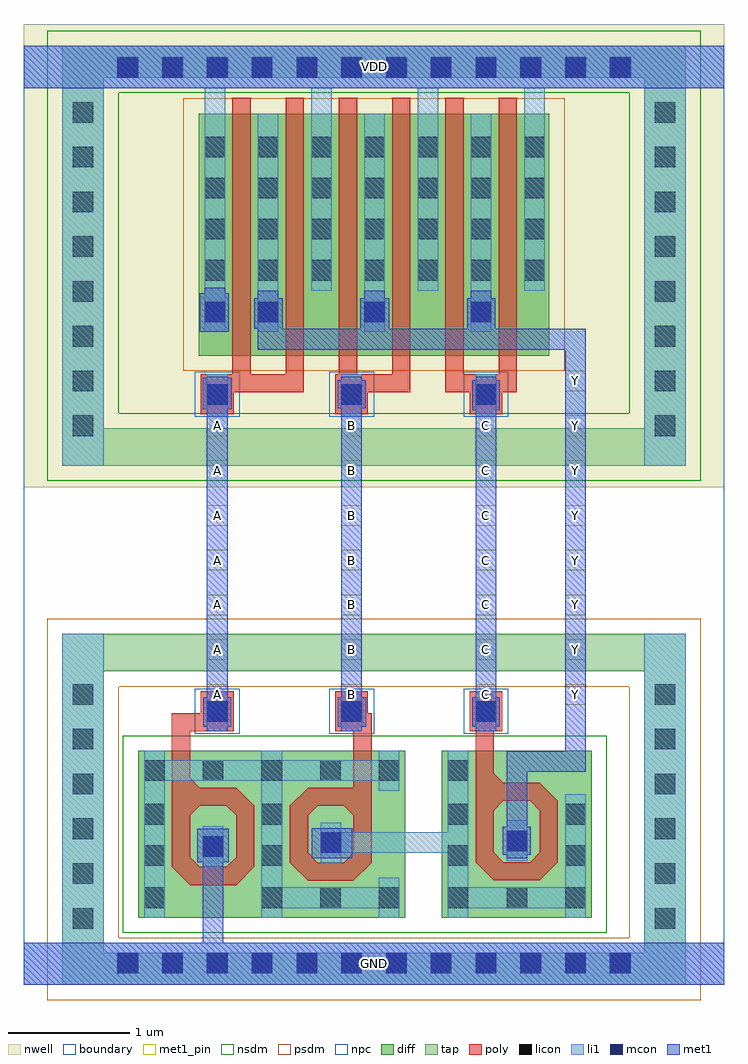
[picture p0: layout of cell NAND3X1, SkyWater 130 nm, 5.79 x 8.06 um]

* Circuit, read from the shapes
.subckt NAND3X1 A B C GND VDD Y
XM1 n1 A GND GND sky130_fd_pr__nfet_01v8 w=2.6 l=0.147
XM2 n1 B n2 GND sky130_fd_pr__nfet_01v8 w=2.52 l=0.1479
XM3 n2 C Y GND sky130_fd_pr__nfet_01v8 w=2.56 l=0.1471
XM4 Y A VDD VDD sky130_fd_pr__pfet_01v8 w=2 l=0.15 m=2
XM5 Y B VDD VDD sky130_fd_pr__pfet_01v8 w=2 l=0.15 m=2
XM6 Y C VDD VDD sky130_fd_pr__pfet_01v8 w=2 l=0.15 m=2
.ends

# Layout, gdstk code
from math import pi, radians
import gdstk
lib = gdstk.Library(unit=1e-6, precision=1e-09)
def R(c, l, rs):  # rectangles x0, y0, x1, y1
    for r in rs: c.add(gdstk.rectangle(r[:2], r[2:], *l))
def A(c, l, x, y, w, h, nx, ny, dx, dy):  # array of equal rectangles
    R(c, l, [(x+i*dx, y+j*dy, x+i*dx+w, y+j*dy+h) for i in range(nx) for j in range(ny)])
def P(c, l, *ps):  # polygons
    for p in ps: c.add(gdstk.Polygon(p, *l))
nwell = (64, 20)
diff = (65, 20)
tap = (65, 44)
poly = (66, 20)
licon = (66, 44)
li1 = (67, 20)
mcon = (67, 44)
met1_pin = (68, 16)
met1 = (68, 20)
nsdm = (93, 44)
psdm = (94, 20)
npc = (95, 20)
boundary = (235, 4)

diff_ring_side = lib.new_cell('diff_ring_side')
R(diff_ring_side, nwell, [(-0.435,3.93,0.435,7.75)])
R(diff_ring_side, tap, [(-0.17,-0.17,0.17,2.72), (-0.17,4.11,0.17,7.57)])
A(diff_ring_side, licon, -0.085, 0.285, 0.17, 0.17, 1, 6, 0, 0.37)
A(diff_ring_side, licon, -0.085, 4.355, 0.17, 0.17, 1, 8, 0, 0.37)
R(diff_ring_side, li1, [(-0.17,-0.17,0.17,2.72), (-0.17,4.11,0.17,7.57)])
R(diff_ring_side, met1, [(-0.17,-0.17,0.17,0.17), (-0.17,7.23,0.17,7.57)])
R(diff_ring_side, nsdm, [(-0.295,3.985,0.295,7.695)])
R(diff_ring_side, psdm, [(-0.295,-0.295,0.295,2.845)])

nmos_bottom = lib.new_cell('nmos_bottom')
R(nmos_bottom, diff, [(0,0,1.24,1.38)])
R(nmos_bottom, poly, [(0.43,0.27,0.81,0.42), (0.28,0.42,0.43,0.925), (0.81,0.42,0.96,0.925), (0.43,0.925,0.96,1.075), (0.81,1.075,0.96,1.51)])
P(nmos_bottom, poly, [(0.73,1.075),(0.81,1.075),(0.81,1.155)],
  [(0.28,0.925),(0.43,0.925),(0.43,1.075)],
  [(0.43,0.845),(0.43,0.925),(0.51,0.925)],
  [(0.73,0.925),(0.81,0.925),(0.81,0.845)],
  [(0.43,0.5),(0.43,0.42),(0.51,0.42)],
  [(0.73,0.42),(0.81,0.42),(0.81,0.5)],
  [(0.28,0.42),(0.43,0.42),(0.43,0.27)],
  [(0.81,0.27),(0.81,0.42),(0.96,0.42)])
A(nmos_bottom, licon, 0.05, 1.13, 0.17, 0.17, 3, 1, 0.485, 0)
R(nmos_bottom, licon, [(0.05,0.08,0.22,0.25), (1.02,0.08,1.19,0.25), (0.05,0.43,0.22,0.6), (1.02,0.43,1.19,0.6), (0.535,0.505,0.705,0.675), (0.05,0.77,0.22,0.94), (1.02,0.77,1.19,0.94)])
R(nmos_bottom, li1, [(0.05,0,0.22,1.13), (1.02,0,1.19,1.13), (0.535,0.425,0.705,0.755), (0.05,1.13,1.19,1.3), (0.05,1.3,0.22,1.38), (1.02,1.3,1.19,1.38)])
R(nmos_bottom, nsdm, [(-0.125,-0.125,1.365,1.505)])

pmos2 = lib.new_cell('pmos2')
R(pmos2, nwell, [(0.26,-2.18,1.76,0.18)])
R(pmos2, diff, [(0.44,-2,1.58,0)])
R(pmos2, poly, [(0.72,-2.305,1.31,-2.155), (0.72,-2.155,0.87,0.13), (1.16,-2.155,1.31,0.13)])
A(pmos2, licon, 0.49, -1.38, 0.17, 0.17, 3, 4, 0.44, 0.34)
R(pmos2, li1, [(0.49,-1.465,0.66,0.21), (0.93,-1.465,1.1,0), (1.37,-1.465,1.54,0.21)])
R(pmos2, psdm, [(0.315,-2.125,1.705,0.125)])

poly_li1_contact = lib.new_cell('poly_li1_contact')
R(poly_li1_contact, poly, [(-0.16,-0.14,0.17,0.13)])
R(poly_li1_contact, licon, [(-0.08,-0.09,0.09,0.08)])
R(poly_li1_contact, li1, [(-0.16,-0.09,0.17,0.08)])
R(poly_li1_contact, npc, [(-0.18,-0.19,0.19,0.18)])

nmos_side_left = lib.new_cell('nmos_side_left')
R(nmos_side_left, diff, [(0,0,1.24,1.38)])
R(nmos_side_left, poly, [(0.435,0.305,0.81,0.455), (0.285,0.455,0.435,0.925), (0.81,0.455,0.96,0.925), (0.435,0.925,0.96,1.075), (0.81,1.075,0.96,1.51)])
P(nmos_side_left, poly, [(0.285,0.925),(0.435,0.925),(0.435,1.075)],
  [(0.435,0.845),(0.435,0.925),(0.515,0.925)],
  [(0.73,0.925),(0.81,0.925),(0.81,0.845)],
  [(0.435,0.535),(0.435,0.455),(0.515,0.455)],
  [(0.73,0.455),(0.81,0.455),(0.81,0.535)],
  [(0.285,0.455),(0.435,0.455),(0.435,0.305)],
  [(0.81,0.305),(0.81,0.455),(0.96,0.455)])
A(nmos_side_left, licon, 0.05, 0.08, 0.17, 0.17, 3, 2, 0.485, 1.05)
R(nmos_side_left, licon, [(0.05,0.43,0.22,0.6), (0.54,0.535,0.71,0.705), (0.05,0.77,0.22,0.94)])
R(nmos_side_left, li1, [(0.05,0,0.22,0.08), (1.02,0,1.19,0.08), (0.05,0.08,1.19,0.25), (0.05,0.25,0.22,1.13), (1.02,0.25,1.19,0.33), (0.54,0.455,0.71,0.785), (1.02,1.05,1.19,1.13), (0.05,1.13,1.19,1.3), (0.05,1.3,0.22,1.38), (1.02,1.3,1.19,1.38)])
R(nmos_side_left, nsdm, [(-0.125,-0.125,1.365,1.505)])

nmos_top_trim1 = lib.new_cell('nmos_top_trim1')
R(nmos_top_trim1, diff, [(0,0,1.24,1.38)])
R(nmos_top_trim1, poly, [(0.43,0.31,0.81,0.46), (0.28,0.46,0.43,0.965), (0.81,0.46,0.96,0.965), (0.43,0.965,0.96,1.115), (0.81,1.115,0.96,1.545)])
P(nmos_top_trim1, poly, [(0.73,1.115),(0.81,1.115),(0.81,1.195)],
  [(0.28,0.965),(0.43,0.965),(0.43,1.115)],
  [(0.43,0.885),(0.43,0.965),(0.51,0.965)],
  [(0.73,0.965),(0.81,0.965),(0.81,0.885)],
  [(0.43,0.54),(0.43,0.46),(0.51,0.46)],
  [(0.73,0.46),(0.81,0.46),(0.81,0.54)],
  [(0.28,0.46),(0.43,0.46),(0.43,0.31)],
  [(0.81,0.31),(0.81,0.46),(0.96,0.46)])
A(nmos_top_trim1, licon, 0.05, 0.08, 0.17, 0.17, 3, 1, 0.485, 0)
R(nmos_top_trim1, licon, [(0.05,0.43,0.22,0.6), (1.02,0.43,1.19,0.6), (0.535,0.55,0.705,0.72), (0.05,0.77,0.22,0.94), (1.02,0.77,1.19,0.94), (1.02,1.13,1.19,1.3)])
R(nmos_top_trim1, li1, [(0.05,0,0.22,0.08), (1.02,0,1.19,0.08), (0.05,0.08,1.19,0.25), (0.05,0.25,0.22,1.02), (1.02,0.25,1.19,1.38), (0.535,0.47,0.705,0.805)])
R(nmos_top_trim1, nsdm, [(-0.125,-0.125,1.365,1.505)])

nand3x1_pcell = lib.new_cell('nand3x1_pcell')
R(nand3x1_pcell, nwell, [(0.435,3.93,4.375,5.28), (0.435,5.28,1.1,5.295), (1.395,5.28,4.375,5.495), (0.435,5.295,1.025,5.465), (1.145,5.295,1.315,5.465), (0.435,5.465,1.1,5.495), (0.435,5.495,4.375,7.75)])
A(nand3x1_pcell, diff, 1.445, 5.295, 0.17, 0.17, 3, 1, 0.88, 0)
R(nand3x1_pcell, diff, [(1.005,5.295,1.175,5.465)])
R(nand3x1_pcell, tap, [(0.17,-0.17,4.64,0.085), (0.17,2.41,4.64,2.72), (0.17,4.11,4.64,4.42), (0.17,7.315,4.64,7.57)])
R(nand3x1_pcell, poly, [(0.735,1.885,0.885,1.915), (2.235,1.885,2.385,1.915), (0.735,1.915,0.975,2.065), (2.355,1.915,2.385,2.065)])
A(nand3x1_pcell, licon, 0.285, -0.085, 0.17, 0.17, 12, 2, 0.37, 7.4)
A(nand3x1_pcell, licon, 1.445, 5.295, 0.17, 0.17, 3, 1, 0.88, 0)
R(nand3x1_pcell, licon, [(1.005,5.295,1.175,5.465)])
A(nand3x1_pcell, li1, 1.025, 1.995, 0.17, 0.17, 3, 2, 1.11, 2.62)
R(nand3x1_pcell, li1, [(0.17,-0.17,4.65,0.17), (0.99,0.88,1.16,1.05), (1.965,0.91,3.015,1.08), (3.5,0.925,3.67,1.095), (1.005,5.215,1.175,5.6), (1.445,5.215,1.615,5.56), (2.325,5.215,2.495,5.585), (3.205,5.215,3.375,5.56), (0.07,7.23,4.715,7.57)])
A(nand3x1_pcell, mcon, 0.285, -0.085, 0.17, 0.17, 12, 2, 0.37, 7.4)
A(nand3x1_pcell, mcon, 1.025, 1.995, 0.17, 0.17, 3, 2, 1.11, 2.62)
A(nand3x1_pcell, mcon, 1.445, 5.295, 0.17, 0.17, 3, 1, 0.88, 0)
R(nand3x1_pcell, mcon, [(0.99,0.88,1.16,1.05), (1.965,0.91,2.135,1.08), (3.5,0.925,3.67,1.095), (1.005,5.295,1.175,5.465)])
A(nand3x1_pcell, met1, 1.025, 1.915, 0.17, 0.04, 3, 1, 1.11, 0)
A(nand3x1_pcell, met1, 1.445, 5.495, 0.17, 0.06, 3, 1, 0.88, 0)
R(nand3x1_pcell, met1, [(0.17,-0.17,4.64,0.17), (0.99,0.17,1.16,0.835), (0.945,0.835,1.205,1.11), (1.89,0.865,2.225,1.115), (3.5,0.865,3.67,0.895), (3.47,0.895,3.7,1.125), (3.5,1.125,3.67,1.58), (3.5,1.58,4.155,1.75), (3.985,1.75,4.155,5.07), (0.995,1.955,1.225,2.195), (2.105,1.955,2.34,2.195), (3.215,1.955,3.445,2.195), (1.025,2.195,1.195,4.575), (2.135,2.195,2.305,4.585), (3.245,2.195,3.415,4.57), (3.215,4.57,3.445,4.815), (0.99,4.575,1.23,4.835), (2.105,4.585,2.335,4.815), (2.135,4.815,2.305,4.845), (3.245,4.815,3.415,4.845), (1.025,4.835,1.195,4.845), (1.445,5.07,4.155,5.24), (0.965,5.215,1.205,5.535), (1.415,5.24,1.65,5.495), (2.29,5.24,2.53,5.495), (3.175,5.24,3.405,5.495), (1.005,5.535,1.175,5.58), (0.17,7.23,4.64,7.57)])
R(nand3x1_pcell, nsdm, [(2.79,0.25,2.84,1.88), (0.045,3.985,4.765,4.545), (0.045,7.19,4.765,7.695)])
R(nand3x1_pcell, psdm, [(0.045,-0.295,4.765,0.21), (0.045,2.285,4.765,2.845), (0.88,5.17,1.74,5.59), (2.2,5.17,2.62,5.59), (3.08,5.17,3.5,5.59)])
nand3x1_pcell.add(gdstk.Reference(diff_ring_side, (0,0)))
nand3x1_pcell.add(gdstk.Reference(nmos_bottom, (1.695,0.375), rotation=pi, x_reflection=True))
nand3x1_pcell.add(gdstk.Reference(pmos2, (0.515,7.02)))
nand3x1_pcell.add(gdstk.Reference(poly_li1_contact, (1.115,4.705), rotation=3*pi/2))
nand3x1_pcell.add(gdstk.Reference(poly_li1_contact, (1.105,2.075), rotation=pi/2))
nand3x1_pcell.add(gdstk.Reference(nmos_side_left, (1.425,0.375)))
nand3x1_pcell.add(gdstk.Reference(pmos2, (1.395,7.02)))
nand3x1_pcell.add(gdstk.Reference(pmos2, (2.275,7.02)))
nand3x1_pcell.add(gdstk.Reference(poly_li1_contact, (2.215,2.075), rotation=pi/2))
nand3x1_pcell.add(gdstk.Reference(poly_li1_contact, (2.215,4.695), rotation=pi/2))
nand3x1_pcell.add(gdstk.Reference(nmos_top_trim1, (4.205,0.375), rotation=pi, x_reflection=True))
nand3x1_pcell.add(gdstk.Reference(poly_li1_contact, (3.325,2.075), rotation=pi/2))
nand3x1_pcell.add(gdstk.Reference(poly_li1_contact, (3.335,4.705), rotation=3*pi/2))
nand3x1_pcell.add(gdstk.Reference(diff_ring_side, (4.81,0)))

nand3x1 = lib.new_cell('NAND3X1')
R(nand3x1, nwell, [(0,4.11,5.79,7.94)])
R(nand3x1, tap, [(0.32,0,5.47,0.115), (0.32,7.75,5.47,7.76)])
R(nand3x1, li1, [(0,0,5.79,0.35), (0,7.41,5.79,7.76)])
A(nand3x1, met1_pin, 1.515, 2.315, 0.17, 0.17, 3, 7, 1.11, 0.37)
A(nand3x1, met1_pin, 4.475, 2.315, 0.17, 0.17, 1, 8, 0, 0.37)
R(nand3x1, met1_pin, [(0,0,5.79,0.35), (0,7.41,5.79,7.76)])
A(nand3x1, met1, 1.515, 2.315, 0.17, 0.17, 3, 7, 1.11, 0.37)
A(nand3x1, met1, 4.475, 2.315, 0.17, 0.17, 1, 8, 0, 0.37)
R(nand3x1, met1, [(0,0,5.79,0.35), (0,7.41,5.79,7.76)])
R(nand3x1, nsdm, [(0.195,7.625,5.595,7.885)])
R(nand3x1, psdm, [(0.195,-0.125,5.595,0.24)])
R(nand3x1, boundary, [(0,0,5.79,7.76)])
nand3x1.add(gdstk.Reference(nand3x1_pcell, (0.49,0.18)))
nand3x1.add(gdstk.Label('Y', (4.56,4.25), layer=68, texttype=5))
nand3x1.add(gdstk.Label('Y', (4.56,4.99), layer=68, texttype=5))
nand3x1.add(gdstk.Label('Y', (4.56,4.62), layer=68, texttype=5))
nand3x1.add(gdstk.Label('Y', (4.56,3.88), layer=68, texttype=5))
nand3x1.add(gdstk.Label('Y', (4.56,3.51), layer=68, texttype=5))
nand3x1.add(gdstk.Label('Y', (4.56,3.14), layer=68, texttype=5))
nand3x1.add(gdstk.Label('Y', (4.56,2.77), layer=68, texttype=5))
nand3x1.add(gdstk.Label('Y', (4.56,2.4), layer=68, texttype=5))
nand3x1.add(gdstk.Label('A', (1.6,4.62), layer=68, texttype=5))
nand3x1.add(gdstk.Label('A', (1.6,4.25), layer=68, texttype=5))
nand3x1.add(gdstk.Label('A', (1.6,3.88), layer=68, texttype=5))
nand3x1.add(gdstk.Label('A', (1.6,3.51), layer=68, texttype=5))
nand3x1.add(gdstk.Label('A', (1.6,2.4), layer=68, texttype=5))
nand3x1.add(gdstk.Label('A', (1.6,2.77), layer=68, texttype=5))
nand3x1.add(gdstk.Label('A', (1.6,3.14), layer=68, texttype=5))
nand3x1.add(gdstk.Label('B', (2.71,2.4), layer=68, texttype=5))
nand3x1.add(gdstk.Label('B', (2.71,2.77), layer=68, texttype=5))
nand3x1.add(gdstk.Label('B', (2.71,3.14), layer=68, texttype=5))
nand3x1.add(gdstk.Label('B', (2.71,4.62), layer=68, texttype=5))
nand3x1.add(gdstk.Label('B', (2.71,4.25), layer=68, texttype=5))
nand3x1.add(gdstk.Label('B', (2.71,3.88), layer=68, texttype=5))
nand3x1.add(gdstk.Label('B', (2.71,3.51), layer=68, texttype=5))
nand3x1.add(gdstk.Label('C', (3.82,4.62), layer=68, texttype=5))
nand3x1.add(gdstk.Label('C', (3.82,4.25), layer=68, texttype=5))
nand3x1.add(gdstk.Label('C', (3.82,3.88), layer=68, texttype=5))
nand3x1.add(gdstk.Label('C', (3.82,3.51), layer=68, texttype=5))
nand3x1.add(gdstk.Label('C', (3.82,2.4), layer=68, texttype=5))
nand3x1.add(gdstk.Label('C', (3.82,2.77), layer=68, texttype=5))
nand3x1.add(gdstk.Label('C', (3.82,3.14), layer=68, texttype=5))
nand3x1.add(gdstk.Label('VDD', (2.895,7.585), layer=68, texttype=5))
nand3x1.add(gdstk.Label('GND', (2.895,0.175), layer=68, texttype=5))

lib.write_gds('NAND3X1.gds')
